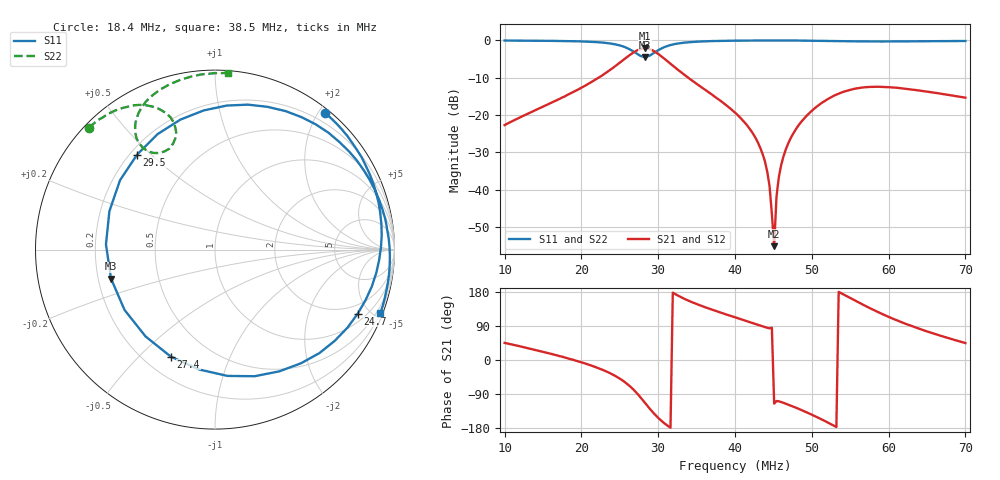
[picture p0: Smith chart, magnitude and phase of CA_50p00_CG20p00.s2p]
#  HZ  S  RI  R  50.00
! Rohde & Schwarz ZVT8 8Ports - Version 4.11 - 1300.0000k08 SN: 100242
! Date: 2026-07-31 15:17:00
! Measurements: S11 S21 S12 S22
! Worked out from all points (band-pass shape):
!   201 points, 10 MHz to 70 MHz, reference 50 ohm
!   highest |S21| = -2.13 dB at 28.3 MHz (marker M1); lowest = -55.1 dB at 45.1 MHz (marker M2)
!   |S21| within 3 dB of the highest: 25.53 MHz to 30.94 MHz (5.407 MHz wide, 19.2 % of centre)
!   lowest |S11| = -4.4 dB at 28.3 MHz (marker M3), VSWR 4.02, Z = 12.7 - j6.41 ohm
!   |S11| at or under -10 dB: nowhere
!   |S22| runs from -4.2 to 0.0 dB; largest |S21 - S12| = 0.003
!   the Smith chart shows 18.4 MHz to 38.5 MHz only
!   S11 on the Smith chart (normalised r, x): 18.4 MHz: 0.06, +2.08; 24.7 MHz: 1.42, -4.22; 27.4 MHz: 0.31, -0.62; 29.5 MHz: 0.23, +0.45; 38.5 MHz: 0.20, -5.40
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1e7  -0.4011 0.9116  0.0517 0.0521  0.0515 0.0523  -0.9196 0.382
1.84e7  0.6128 0.7633  0.1912 0.0109  0.1902 0.0113  -0.7039 0.6796
2.02e7  0.7907 0.5559  0.2365 -0.0305  0.2358 -0.0303  -0.6299 0.7334
2.47e7  0.7951 -0.3568  0.3341 -0.34  0.3348 -0.3377  -0.3565 0.7985
2.65e7  0.2199 -0.7055  0.1971 -0.6291  0.1966 -0.6301  -0.2313 0.7099
2.74e7  -0.2463 -0.5962  -0.0197 -0.7473  -0.0227 -0.7466  -0.221 0.6199
2.83e7  -0.5792 -0.1615  -0.3127 -0.7175  -0.3125 -0.7176  -0.2805 0.5473
2.95e7  -0.4336 0.5297  -0.5648 -0.4359  -0.5646 -0.4354  -0.4018 0.5676
3.01e7  -0.1926 0.7244  -0.5856 -0.2765  -0.5848 -0.2765  -0.4372 0.6193
3.34e7  0.7907 0.4964  -0.3288 0.1104  -0.3279 0.1099  -0.3274 0.8751
3.85e7  0.9213 -0.3531  -0.0784 0.122  -0.0779 0.1221  0.0698 0.9852
4e7  0.8302 -0.5415  -0.0417 0.0995  -0.0414 0.0995  0.207 0.9695
4.39e7  0.4652 -0.883  0.0013 0.0239  0.00127 0.0237  0.5867 0.8041
4.45e7  0.3979 -0.9143  0.00124 0.0111  0.00124 0.0111  0.6464 0.7581
4.51e7  0.3307 -0.9419  -0.000748 -0.00159  -0.00078 -0.00152  0.7056 0.7031
4.54e7  0.2954 -0.9528  -0.0025 -0.0076  -0.00241 -0.00765  0.7342 0.6727
4.63e7  0.1893 -0.9794  -0.0108 -0.0255  -0.0109 -0.0255  0.8159 0.5699
5.02e7  -0.2635 -0.9557  -0.0989 -0.0663  -0.099 -0.0667  0.9812 -0.1103
5.53e7  -0.7252 -0.6483  -0.2088 0.0742  -0.2087 0.0746  0.1564 -0.9561
6.01e7  -0.9463 -0.2021  -0.0923 0.2171  -0.0923 0.2169  -0.8008 -0.5401
6.43e7  -0.9428 0.2419  0.0354 0.2079  0.0359 0.2078  -0.9696 0.0875
7e7  -0.6203 0.761  0.1215 0.1204  0.1215 0.1201  -0.7536 0.6288
